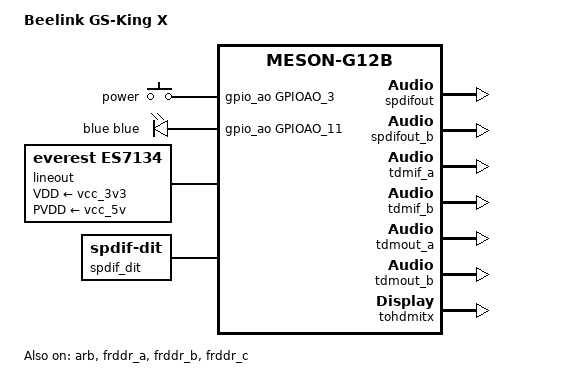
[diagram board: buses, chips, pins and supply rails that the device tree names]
// SPDX-License-Identifier: (GPL-2.0+ OR MIT)
/*
 * Copyright (c) 2019 BayLibre, SAS
 * Author: Neil Armstrong <narmstrong@baylibre.com>
 * Copyright (c) 2019 Christian Hewitt <christianshewitt@gmail.com>
 */

/dts-v1/;

#include "meson-g12b-w400.dtsi"
#include <dt-bindings/leds/common.h>
#include <dt-bindings/sound/meson-g12a-tohdmitx.h>

/ {
	compatible = "azw,gsking-x", "amlogic,g12b";
	model = "Beelink GS-King X";

	gpio-keys-polled {
		compatible = "gpio-keys-polled";
		#address-cells = <1>;
		#size-cells = <0>;
		poll-interval = <100>;

		power-button {
			label = "power";
			linux,code = <KEY_POWER>;
			gpios = <&gpio_ao GPIOAO_3 GPIO_ACTIVE_HIGH>;
		};
	};

        leds {
		compatible = "gpio-leds";

		blue {
			color = <LED_COLOR_ID_BLUE>;
			function = LED_FUNCTION_STATUS;
			gpios = <&gpio_ao GPIOAO_11 GPIO_ACTIVE_HIGH>;
			default-state = "on";
		};
	};

	lineout: audio-codec-0 {
		#sound-dai-cells = <0>;
		compatible = "everest,es7134";
		VDD-supply = <&vcc_3v3>;
		PVDD-supply = <&vcc_5v>;
		status = "okay";
		sound-name-prefix = "Lineout";
	};

	spdif_dit: audio-codec-1 {
		#sound-dai-cells = <0>;
		compatible = "linux,spdif-dit";
		status = "okay";
		sound-name-prefix = "DIT";
	};

	sound {
		compatible = "amlogic,axg-sound-card";
		model = "G12B-GSKING-X";
		audio-aux-devs = <&tdmout_a>, <&tdmout_b>;
		audio-widgets = "Line", "Lineout";

		audio-routing = "TDMOUT_A IN 0", "FRDDR_A OUT 0",
				"TDMOUT_A IN 1", "FRDDR_B OUT 0",
				"TDMOUT_A IN 2", "FRDDR_C OUT 0",
				"TDMOUT_B IN 0", "FRDDR_A OUT 1",
				"TDMOUT_B IN 1", "FRDDR_B OUT 1",
				"TDMOUT_B IN 2", "FRDDR_C OUT 1",
				"TDM_A Playback", "TDMOUT_A OUT",
				"TDM_B Playback", "TDMOUT_B OUT",
				"SPDIFOUT IN 0", "FRDDR_A OUT 3",
				"SPDIFOUT IN 1", "FRDDR_B OUT 3",
				"SPDIFOUT IN 2", "FRDDR_C OUT 3",
				"Lineout", "Lineout AOUTL",
				"Lineout", "Lineout AOUTR";

		assigned-clocks = <&clkc CLKID_MPLL2>,
				  <&clkc CLKID_MPLL0>,
				  <&clkc CLKID_MPLL1>;
		assigned-clock-parents = <0>, <0>, <0>;
		assigned-clock-rates = <294912000>,
				       <270950400>,
				       <393216000>;
		status = "okay";

		dai-link-0 {
			sound-dai = <&frddr_a>;
		};

		dai-link-1 {
			sound-dai = <&frddr_b>;
		};

		dai-link-2 {
			sound-dai = <&frddr_c>;
		};

		/* 8ch hdmi interface */
		dai-link-3 {
			sound-dai = <&tdmif_a>;
			dai-format = "i2s";
			dai-tdm-slot-tx-mask-0 = <1 1>;
			dai-tdm-slot-tx-mask-1 = <1 1>;
			dai-tdm-slot-tx-mask-2 = <1 1>;
			dai-tdm-slot-tx-mask-3 = <1 1>;
			mclk-fs = <256>;

			codec {
				sound-dai = <&tohdmitx TOHDMITX_I2S_IN_A>;
			};
		};

		/* external DACs */
		dai-link-4 {
			sound-dai = <&tdmif_b>;
			dai-format = "i2s";
			dai-tdm-slot-tx-mask-0 = <1 1>;
			mclk-fs = <256>;

			codec-0 {
				sound-dai = <&tohdmitx TOHDMITX_I2S_IN_B>;
			};

			codec-1 {
				sound-dai = <&lineout>;
			};
		};

		/* spdif hdmi or toslink interface */
		dai-link-5 {
			sound-dai = <&spdifout>;

			codec-0 {
				sound-dai = <&spdif_dit>;
			};

			codec-1 {
				sound-dai = <&tohdmitx TOHDMITX_SPDIF_IN_A>;
			};
		};

		/* spdif hdmi interface */
		dai-link-6 {
			sound-dai = <&spdifout_b>;

			codec {
				sound-dai = <&tohdmitx TOHDMITX_SPDIF_IN_B>;
			};
		};

		/* hdmi glue */
		dai-link-7 {
			sound-dai = <&tohdmitx TOHDMITX_I2S_OUT>;

			codec {
				sound-dai = <&hdmi_tx>;
			};
		};
	};
};

&arb {
	status = "okay";
};

&clkc_audio {
	status = "okay";
};

&frddr_a {
	status = "okay";
};

&frddr_b {
	status = "okay";
};

&frddr_c {
	status = "okay";
};

&spdifout {
	pinctrl-0 = <&spdif_out_h_pins>;
	pinctrl-names = "default";
	status = "okay";
};

&spdifout_b {
	status = "okay";
};

&tdmif_a {
	status = "okay";
};

&tdmif_b {
	pinctrl-0 = <&tdm_b_sclk_pins>, <&tdm_b_fs_pins>,
		    <&tdm_b_dout0_pins>, <&mclk0_a_pins>;
	pinctrl-names = "default";

	assigned-clocks = <&clkc_audio AUD_CLKID_TDM_SCLK_PAD1>,
			  <&clkc_audio AUD_CLKID_TDM_LRCLK_PAD1>,
			  <&clkc_audio AUD_CLKID_TDM_MCLK_PAD0>;
	assigned-clock-parents = <&clkc_audio AUD_CLKID_MST_B_SCLK>,
				 <&clkc_audio AUD_CLKID_MST_B_LRCLK>,
				 <&clkc_audio AUD_CLKID_MST_B_MCLK>;
	assigned-clock-rates = <0>, <0>, <0>;

	status = "okay";
};

&tdmout_a {
	status = "okay";
};

&tdmout_b {
	status = "okay";
};

&tohdmitx {
	status = "okay";
};
